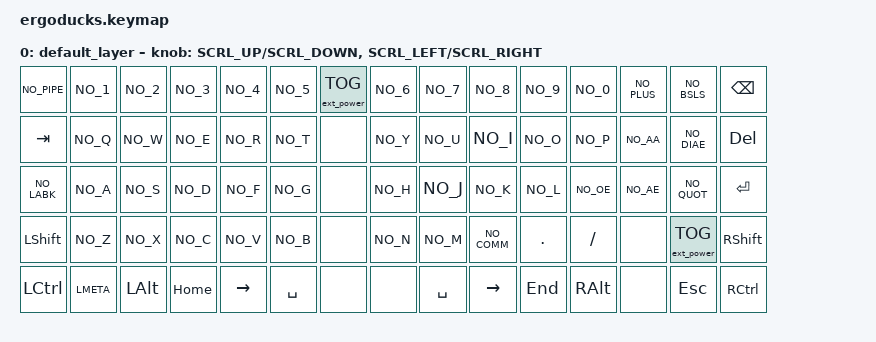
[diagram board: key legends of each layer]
// This file was generated from a template. Edit it to match your keyboard.
// See https://zmk.dev/docs/development/hardware-integration/new-shield for more instructions.

#include <behaviors.dtsi>
#include <dt-bindings/zmk/keys.h>
#include <dt-bindings/zmk/pointing.h>
#include <dt-bindings/zmk/ext_power.h>

#include "keys_norwegian.h"

/ {
    keymap {
        compatible = "zmk,keymap";
    // Define a default keymap here.
    // See https://zmk.dev/docs/development/hardware-integration/new-shield#default-keymap.
        default_layer {
            bindings = <
&kp NO_PIPE    &kp NO_1       &kp NO_2    &kp NO_3    &kp NO_4     &kp NO_5  &ext_power EP_TOG      &kp NO_6    &kp NO_7    &kp NO_8     &kp NO_9       &kp NO_0     &kp NO_PLUS    &kp NO_BSLS        &kp BSPC
&kp TAB        &kp NO_Q       &kp NO_W    &kp NO_E    &kp NO_R     &kp NO_T  &none                  &kp NO_Y    &kp NO_U    &kp NO_I     &kp NO_O       &kp NO_P     &kp NO_AA      &kp NO_DIAE        &kp DEL
&kp NO_LABK    &kp NO_A       &kp NO_S    &kp NO_D    &kp NO_F     &kp NO_G  &none                  &kp NO_H    &kp NO_J    &kp NO_K     &kp NO_L       &kp NO_OE    &kp NO_AE      &kp NO_QUOT        &kp ENTER
&kp LSHFT      &kp NO_Z       &kp NO_X    &kp NO_C    &kp NO_V     &kp NO_B  &none                  &kp NO_N    &kp NO_M    &kp NO_COMM  &kp DOT        &kp SLASH    &none          &ext_power EP_TOG  &kp RSHFT
&kp LCTRL      &kp LMETA      &kp LALT    &kp HOME    &kp RIGHT    &kp SPACE &none                  &none       &kp SPACE   &kp RIGHT    &kp END        &kp RALT     &none          &kp ESC            &kp RCTRL
            >;
            sensor-bindings = <&inc_dec_msc SCRL_UP SCRL_DOWN &inc_dec_msc SCRL_LEFT SCRL_RIGHT>;
        };
    };
};
